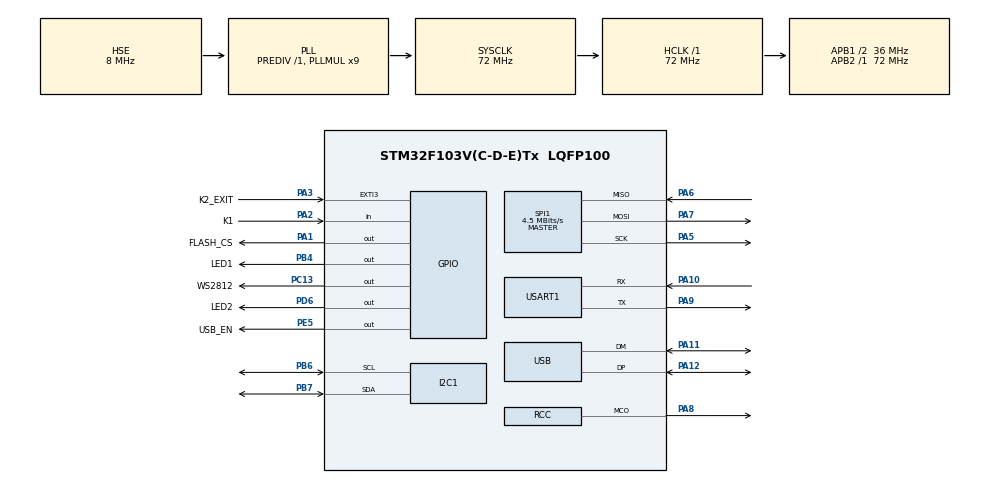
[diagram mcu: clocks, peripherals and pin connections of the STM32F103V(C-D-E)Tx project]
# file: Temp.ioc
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FATFS._CODE_PAGE=936
FATFS._FS_TINY=1
FATFS._MAX_SS=4096
FATFS._MIN_SS=4096
Mcu.Family=STM32F1
Mcu.Name=STM32F103V(C-D-E)Tx
Mcu.Package=LQFP100
NVIC.EXTI3_IRQn=true\:0\:0\:false\:false\:true\:true\:true\:true
NVIC.PriorityGroup=NVIC_PRIORITYGROUP_4
NVIC.USART1_IRQn=true\:0\:0\:false\:false\:true\:true\:true\:true
NVIC.USB_LP_CAN1_RX0_IRQn=true\:0\:0\:false\:false\:true\:false\:true\:true
OSC_IN.Mode=HSE-External-Oscillator
OSC_IN.Signal=RCC_OSC_IN
OSC_OUT.Mode=HSE-External-Oscillator
OSC_OUT.Signal=RCC_OSC_OUT
PA1.GPIO_Label=FLASH_CS
PA1.GPIO_PuPd=GPIO_PULLUP
PA1.GPIO_Speed=GPIO_SPEED_FREQ_HIGH
PA1.PinState=GPIO_PIN_SET
PA1.Signal=GPIO_Output
PA10.Mode=Asynchronous
PA10.Signal=USART1_RX
PA11.Mode=Device
PA11.Signal=USB_DM
PA12.Mode=Device
PA12.Signal=USB_DP
PA13.Mode=Serial_Wire
PA13.Signal=SYS_JTMS-SWDIO
PA14.Mode=Serial_Wire
PA14.Signal=SYS_JTCK-SWCLK
PA2.GPIO_Label=K1
PA2.Signal=GPIO_Input
PA3.GPIO_Label=K2_EXIT
PA3.GPIO_ModeDefaultEXTI=GPIO_MODE_IT_FALLING
PA3.Signal=GPXTI3
PA5.Mode=Full_Duplex_Master
PA5.Signal=SPI1_SCK
PA6.Mode=Full_Duplex_Master
PA6.Signal=SPI1_MISO
PA7.Mode=Full_Duplex_Master
PA7.Signal=SPI1_MOSI
PA8.Mode=Clock-out
PA8.Signal=RCC_MCO
PA9.Mode=Asynchronous
PA9.Signal=USART1_TX
PB4.GPIO_Label=LED1
PB4.GPIO_ModeDefaultOutputPP=GPIO_MODE_OUTPUT_PP
PB4.GPIO_PuPd=GPIO_PULLUP
PB4.GPIO_Speed=GPIO_SPEED_FREQ_HIGH
PB4.PinState=GPIO_PIN_SET
PB4.Signal=GPIO_Output
PB6.Mode=I2C
PB6.Signal=I2C1_SCL
PB7.Mode=I2C
PB7.Signal=I2C1_SDA
PC13-TAMPER-RTC.GPIO_Label=WS2812
PC13-TAMPER-RTC.GPIO_PuPd=GPIO_PULLUP
PC13-TAMPER-RTC.GPIO_Speed=GPIO_SPEED_FREQ_HIGH
PC13-TAMPER-RTC.PinState=GPIO_PIN_SET
PC13-TAMPER-RTC.Signal=GPIO_Output
PC14-OSC32_IN.Mode=LSE-External-Oscillator
PC14-OSC32_IN.Signal=RCC_OSC32_IN
PC15-OSC32_OUT.Mode=LSE-External-Oscillator
PC15-OSC32_OUT.Signal=RCC_OSC32_OUT
PD6.GPIO_Label=LED2
PD6.GPIO_ModeDefaultOutputPP=GPIO_MODE_OUTPUT_PP
PD6.GPIO_PuPd=GPIO_PULLUP
PD6.GPIO_Speed=GPIO_SPEED_FREQ_HIGH
PD6.PinState=GPIO_PIN_SET
PD6.Signal=GPIO_Output
PE5.GPIO_Label=USB_EN
PE5.GPIO_ModeDefaultOutputPP=GPIO_MODE_OUTPUT_PP
PE5.GPIO_PuPd=GPIO_PULLUP
PE5.GPIO_Speed=GPIO_SPEED_FREQ_HIGH
PE5.PinState=GPIO_PIN_SET
PE5.Signal=GPIO_Output
ProjectManager.HeapSize=0x1000
ProjectManager.StackSize=0x1000
ProjectManager.TargetToolchain=Makefile
RCC.AHBFreq_Value=72000000
RCC.APB1CLKDivider=RCC_HCLK_DIV2
RCC.APB1Freq_Value=36000000
RCC.APB1TimFreq_Value=72000000
RCC.APB2Freq_Value=72000000
RCC.APB2TimFreq_Value=72000000
RCC.HCLKFreq_Value=72000000
RCC.PLLMUL=RCC_PLL_MUL9
RCC.PLLSourceVirtual=RCC_PLLSOURCE_HSE
RCC.RCC_MCOSource=RCC_MCO1SOURCE_PLLCLK
RCC.SYSCLKFreq_VALUE=72000000
RCC.SYSCLKSource=RCC_SYSCLKSOURCE_PLLCLK
RCC.USBFreq_Value=48000000
RCC.USBPrescaler=RCC_USBCLKSOURCE_PLL_DIV1_5
SPI1.BaudRatePrescaler=SPI_BAUDRATEPRESCALER_16
SPI1.CalculateBaudRate=4.5 MBits/s
SPI1.Direction=SPI_DIRECTION_2LINES
SPI1.Mode=SPI_MODE_MASTER
SPI1.VirtualType=VM_MASTER
USART1.VirtualMode=VM_ASYNC
USB_DEVICE.CLASS_NAME_FS=HID
USB_DEVICE.VirtualMode=Hid
USB_DEVICE.VirtualModeFS=Hid_FS
VP_FATFS_VS_Generic.Mode=User_defined
VP_USB_DEVICE_VS_USB_DEVICE_HID_FS.Mode=HID_FS
board=custom

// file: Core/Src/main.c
/* USER CODE BEGIN Header */
/**
  ******************************************************************************
  * @file           : main.c
  * @brief          : Main program body
  ******************************************************************************
  * @attention
  *
  * Copyright (c) 2025 STMicroelectronics.
  * All rights reserved.
  *
  * This software is licensed under terms that can be found in the LICENSE file
  * in the root directory of this software component.
  * If no LICENSE file comes with this software, it is provided AS-IS.
  *
  ******************************************************************************
  */
/* USER CODE END Header */
#include "main.h"
#include "fatfs.h"
#include "usb_device.h"

/* USER CODE BEGIN Includes */
#include "stdio.h"//printf函数
#include "string.h"
#include "bsp_spi_flash.h"//SPI flash驱动
#include "usbd_hid.h"
/* USER CODE END Includes */

/* USER CODE BEGIN PTD */
uint8_t rx_buff[100];  //接收缓存
uint8_t rx_done = 0; //接收完成标志
uint8_t rx_cnt = 0;//接收数据长度
/* USER CODE END PTD */

/* USER CODE BEGIN PD */
unsigned char USB_CDC_buff[] = {"STM32 HAL库USB虚拟串口测试!\r\n"};
/* USER CODE END PD */

I2C_HandleTypeDef hi2c1;

SPI_HandleTypeDef hspi1;

UART_HandleTypeDef huart1;

/* USER CODE BEGIN PV */
SPI_HandleTypeDef *hspi_flash = &hspi1; // 必须定义
/* USER CODE END PV */

void SystemClock_Config(void);
static void MX_GPIO_Init(void);
static void MX_USART1_UART_Init(void);
static void MX_I2C1_Init(void);
static void MX_SPI1_Init(void);
/* USER CODE BEGIN PFP */
void spi_flash_test(void);//SPI flash测试函数
void FATFS_FLASH_Test(void);
/* USER CODE END PFP */

int main(void)
{

  /* MCU Configuration--------------------------------------------------------*/

  /* Reset of all peripherals, Initializes the Flash interface and the Systick. */
  HAL_Init();

  /* Configure the system clock */
  SystemClock_Config();

  /* Initialize all configured peripherals */
  MX_GPIO_Init();
  MX_USART1_UART_Init();
  MX_I2C1_Init();
  MX_SPI1_Init();
  MX_FATFS_Init();
  MX_USB_DEVICE_Init();
  /* USER CODE BEGIN 2 */
  // 发送字符串rymcu
  unsigned char Str[] = {"rymcu"};
  unsigned char *Pstr = Str; // 字符串指针

  uint8_t txbuffer[8] = {0x00, 0x00, 0x00, 0x00, 0x00, 0x00, 0x00, 0x00};   // 空
  uint8_t sendbuffer[8] = {0x00, 0x00, 0x04, 0x00, 0x00, 0x00, 0x00, 0x00}; // 发送字母
  HAL_Delay(2000);
  while (*Pstr) // 判断是否到字符串末尾
  {
    sendbuffer[2] = (*Pstr++) - 'a' + 4; // 字母a对应4，其他依次增加
    // 发送一个字符
    USBD_HID_SendReport(&hUsbDeviceFS, sendbuffer, 8); // 发送报文
    HAL_Delay(15);
    USBD_HID_SendReport(&hUsbDeviceFS, txbuffer, 8); // 发送报文
    HAL_Delay(15);
  }
  /* USER CODE END 2 */

  /* Infinite loop */
  while (1)
  {

  }
}

void SystemClock_Config(void)
{
  RCC_OscInitTypeDef RCC_OscInitStruct = {0};
  RCC_ClkInitTypeDef RCC_ClkInitStruct = {0};
  RCC_PeriphCLKInitTypeDef PeriphClkInit = {0};

  /** Initializes the RCC Oscillators according to the specified parameters
  * in the RCC_OscInitTypeDef structure.
  */
  RCC_OscInitStruct.OscillatorType = RCC_OSCILLATORTYPE_HSE;
  RCC_OscInitStruct.HSEState = RCC_HSE_ON;
  RCC_OscInitStruct.HSEPredivValue = RCC_HSE_PREDIV_DIV1;
  RCC_OscInitStruct.HSIState = RCC_HSI_ON;
  RCC_OscInitStruct.PLL.PLLState = RCC_PLL_ON;
  RCC_OscInitStruct.PLL.PLLSource = RCC_PLLSOURCE_HSE;
  RCC_OscInitStruct.PLL.PLLMUL = RCC_PLL_MUL9;
  if (HAL_RCC_OscConfig(&RCC_OscInitStruct) != HAL_OK)
  {
    Error_Handler();
  }

  /** Initializes the CPU, AHB and APB buses clocks
  */
  RCC_ClkInitStruct.ClockType = RCC_CLOCKTYPE_HCLK|RCC_CLOCKTYPE_SYSCLK
                              |RCC_CLOCKTYPE_PCLK1|RCC_CLOCKTYPE_PCLK2;
  RCC_ClkInitStruct.SYSCLKSource = RCC_SYSCLKSOURCE_PLLCLK;
  RCC_ClkInitStruct.AHBCLKDivider = RCC_SYSCLK_DIV1;
  RCC_ClkInitStruct.APB1CLKDivider = RCC_HCLK_DIV2;
  RCC_ClkInitStruct.APB2CLKDivider = RCC_HCLK_DIV1;

  if (HAL_RCC_ClockConfig(&RCC_ClkInitStruct, FLASH_LATENCY_2) != HAL_OK)
  {
    Error_Handler();
  }
  PeriphClkInit.PeriphClockSelection = RCC_PERIPHCLK_USB;
  PeriphClkInit.UsbClockSelection = RCC_USBCLKSOURCE_PLL_DIV1_5;
  if (HAL_RCCEx_PeriphCLKConfig(&PeriphClkInit) != HAL_OK)
  {
    Error_Handler();
  }
  HAL_RCC_MCOConfig(RCC_MCO, RCC_MCO1SOURCE_PLLCLK, RCC_MCODIV_1);
}

static void MX_I2C1_Init(void)
{

  hi2c1.Instance = I2C1;
  hi2c1.Init.ClockSpeed = 100000;
  hi2c1.Init.DutyCycle = I2C_DUTYCYCLE_2;
  hi2c1.Init.OwnAddress1 = 0;
  hi2c1.Init.AddressingMode = I2C_ADDRESSINGMODE_7BIT;
  hi2c1.Init.DualAddressMode = I2C_DUALADDRESS_DISABLE;
  hi2c1.Init.OwnAddress2 = 0;
  hi2c1.Init.GeneralCallMode = I2C_GENERALCALL_DISABLE;
  hi2c1.Init.NoStretchMode = I2C_NOSTRETCH_DISABLE;
  if (HAL_I2C_Init(&hi2c1) != HAL_OK)
  {
    Error_Handler();
  }

}

static void MX_SPI1_Init(void)
{

  /* SPI1 parameter configuration*/
  hspi1.Instance = SPI1;
  hspi1.Init.Mode = SPI_MODE_MASTER;
  hspi1.Init.Direction = SPI_DIRECTION_2LINES;
  hspi1.Init.DataSize = SPI_DATASIZE_8BIT;
  hspi1.Init.CLKPolarity = SPI_POLARITY_LOW;
  hspi1.Init.CLKPhase = SPI_PHASE_1EDGE;
  hspi1.Init.NSS = SPI_NSS_SOFT;
  hspi1.Init.BaudRatePrescaler = SPI_BAUDRATEPRESCALER_16;
  hspi1.Init.FirstBit = SPI_FIRSTBIT_MSB;
  hspi1.Init.TIMode = SPI_TIMODE_DISABLE;
  hspi1.Init.CRCCalculation = SPI_CRCCALCULATION_DISABLE;
  hspi1.Init.CRCPolynomial = 10;
  if (HAL_SPI_Init(&hspi1) != HAL_OK)
  {
    Error_Handler();
  }

}

static void MX_USART1_UART_Init(void)
{

  huart1.Instance = USART1;
  huart1.Init.BaudRate = 115200;
  huart1.Init.WordLength = UART_WORDLENGTH_8B;
  huart1.Init.StopBits = UART_STOPBITS_1;
  huart1.Init.Parity = UART_PARITY_NONE;
  huart1.Init.Mode = UART_MODE_TX_RX;
  huart1.Init.HwFlowCtl = UART_HWCONTROL_NONE;
  huart1.Init.OverSampling = UART_OVERSAMPLING_16;
  if (HAL_UART_Init(&huart1) != HAL_OK)
  {
    Error_Handler();
  }
  /* USER CODE BEGIN USART1_Init 2 */
  //�?启接收中断，空闲中断
  __HAL_UART_ENABLE_IT(&huart1,UART_IT_IDLE|UART_IT_RXNE);
  /* USER CODE END USART1_Init 2 */

}

static void MX_GPIO_Init(void)
{
  GPIO_InitTypeDef GPIO_InitStruct = {0};

  /* GPIO Ports Clock Enable */
  __HAL_RCC_GPIOE_CLK_ENABLE();
  __HAL_RCC_GPIOC_CLK_ENABLE();
  __HAL_RCC_GPIOA_CLK_ENABLE();
  __HAL_RCC_GPIOD_CLK_ENABLE();
  __HAL_RCC_GPIOB_CLK_ENABLE();

  /*Configure GPIO pin Output Level */
  HAL_GPIO_WritePin(USB_EN_GPIO_Port, USB_EN_Pin, GPIO_PIN_SET);

  /*Configure GPIO pin Output Level */
  HAL_GPIO_WritePin(WS2812_GPIO_Port, WS2812_Pin, GPIO_PIN_SET);

  /*Configure GPIO pin Output Level */
  HAL_GPIO_WritePin(FLASH_CS_GPIO_Port, FLASH_CS_Pin, GPIO_PIN_SET);

  /*Configure GPIO pin Output Level */
  HAL_GPIO_WritePin(LED2_GPIO_Port, LED2_Pin, GPIO_PIN_SET);

  /*Configure GPIO pin Output Level */
  HAL_GPIO_WritePin(LED1_GPIO_Port, LED1_Pin, GPIO_PIN_SET);

  /*Configure GPIO pin : USB_EN_Pin */
  GPIO_InitStruct.Pin = USB_EN_Pin;
  GPIO_InitStruct.Mode = GPIO_MODE_OUTPUT_PP;
  GPIO_InitStruct.Pull = GPIO_PULLUP;
  GPIO_InitStruct.Speed = GPIO_SPEED_FREQ_HIGH;
  HAL_GPIO_Init(USB_EN_GPIO_Port, &GPIO_InitStruct);

  /*Configure GPIO pin : WS2812_Pin */
  GPIO_InitStruct.Pin = WS2812_Pin;
  GPIO_InitStruct.Mode = GPIO_MODE_OUTPUT_PP;
  GPIO_InitStruct.Pull = GPIO_PULLUP;
  GPIO_InitStruct.Speed = GPIO_SPEED_FREQ_HIGH;
  HAL_GPIO_Init(WS2812_GPIO_Port, &GPIO_InitStruct);

  /*Configure GPIO pin : FLASH_CS_Pin */
  GPIO_InitStruct.Pin = FLASH_CS_Pin;
  GPIO_InitStruct.Mode = GPIO_MODE_OUTPUT_PP;
  GPIO_InitStruct.Pull = GPIO_PULLUP;
  GPIO_InitStruct.Speed = GPIO_SPEED_FREQ_HIGH;
  HAL_GPIO_Init(FLASH_CS_GPIO_Port, &GPIO_InitStruct);

  /*Configure GPIO pin : K1_Pin */
  GPIO_InitStruct.Pin = K1_Pin;
  GPIO_InitStruct.Mode = GPIO_MODE_INPUT;
  GPIO_InitStruct.Pull = GPIO_NOPULL;
  HAL_GPIO_Init(K1_GPIO_Port, &GPIO_InitStruct);

  /*Configure GPIO pin : K2_EXIT_Pin */
  GPIO_InitStruct.Pin = K2_EXIT_Pin;
  GPIO_InitStruct.Mode = GPIO_MODE_IT_FALLING;
  GPIO_InitStruct.Pull = GPIO_NOPULL;
  HAL_GPIO_Init(K2_EXIT_GPIO_Port, &GPIO_InitStruct);

  /*Configure GPIO pin : PA8 */
  GPIO_InitStruct.Pin = GPIO_PIN_8;
  GPIO_InitStruct.Mode = GPIO_MODE_AF_PP;
  GPIO_InitStruct.Speed = GPIO_SPEED_FREQ_LOW;
  HAL_GPIO_Init(GPIOA, &GPIO_InitStruct);

  /*Configure GPIO pin : LED2_Pin */
  GPIO_InitStruct.Pin = LED2_Pin;
  GPIO_InitStruct.Mode = GPIO_MODE_OUTPUT_PP;
  GPIO_InitStruct.Pull = GPIO_PULLUP;
  GPIO_InitStruct.Speed = GPIO_SPEED_FREQ_HIGH;
  HAL_GPIO_Init(LED2_GPIO_Port, &GPIO_InitStruct);

  /*Configure GPIO pin : LED1_Pin */
  GPIO_InitStruct.Pin = LED1_Pin;
  GPIO_InitStruct.Mode = GPIO_MODE_OUTPUT_PP;
  GPIO_InitStruct.Pull = GPIO_PULLUP;
  GPIO_InitStruct.Speed = GPIO_SPEED_FREQ_HIGH;
  HAL_GPIO_Init(LED1_GPIO_Port, &GPIO_InitStruct);

  /* EXTI interrupt init*/
  HAL_NVIC_SetPriority(EXTI3_IRQn, 0, 0);
  HAL_NVIC_EnableIRQ(EXTI3_IRQn);

}

/* USER CODE BEGIN 4 */
#ifdef __GNUC__
#define PUTCHAR_PROTOTYPE int __io_putchar(int ch)
#else
#define PUTCHAR_PROTOTYPE int fputc(int ch,FILE *f)
#endif /* __GNUC__ */
//重定向printf函数
PUTCHAR_PROTOTYPE
{
    HAL_UART_Transmit(&huart1,(uint8_t *)&ch,1,HAL_MAX_DELAY);//输出指向串口USART1
    return ch;
}
//重写GPIO中断处理函数
void HAL_GPIO_EXTI_Callback(uint16_t GPIO_Pin)
{
    //翻转LED1
    HAL_GPIO_TogglePin(LED1_GPIO_Port,LED1_Pin);
    //打印中断处理信息
    printf("K2 ExTi interrput!\r\n");
}
void spi_flash_test(void)
{
  /* 测试Flash驱动 */
  uint16_t manu_id, dev_id;
  uint8_t jedec_id[3];
  uint8_t write_buf[256] = {0xAA, 0xBB, 0xCC, 0xDD};
  uint8_t read_buf[256];

  Flash_ReadID(&manu_id, &dev_id);
  printf("Flash Manufacturer ID: 0x%04X\r\n", manu_id);
  printf("Flash Device ID: 0x%04X\r\n", dev_id);
  Flash_ReadJedecID(jedec_id);
  printf("Flash JEDEC ID: 0x%02X, 0x%02X, 0x%02X\r\n", jedec_id[0], jedec_id[1], jedec_id[2]);

  if (Flash_SectorErase(0x0000) == HAL_OK) {
    Flash_PageProgram(0x0000, write_buf, 4);
    Flash_ReadData(0x0000, read_buf, 4);
  }
  printf("Flash Write Data: 0x%02X, 0x%02X, 0x%02X, 0x%02X\r\n", write_buf[0], write_buf[1], write_buf[2], write_buf[3]);
  printf("Flash Read  Data: 0x%02X, 0x%02X, 0x%02X, 0x%02X\r\n", read_buf[0], read_buf[1], read_buf[2], read_buf[3]);
  // 验证数据
  if (memcmp(write_buf, read_buf, 4) == 0) {
    printf("\r\nSPI Flash Test Passed!\r\n");
  }
}
// FATFS测试
void FATFS_FLASH_Test(void)
{
  static FATFS fs;                                                              // 文件系统对象
  static FIL fnew;                                                       // 文件对象
  BYTE FATFS_Wr_Buff[128] = "hello, www.rymcu.com make it easy!have fun.\r\n"; // 写缓冲区
  BYTE FATFS_Rd_Buff[128] = {0};                                         // 读缓冲区
  UINT fnum;                                                             // 成功读写数量
  FRESULT res;                                                           // 返回

  printf("\r\n\r\n------------------FLASH FATFS TEST------------------\r\n\r\n");
  res = f_mount(&fs, "0:", 1);
  if (res == FR_NO_FILESYSTEM)
  {
    printf("no file system,begin mkfs\r\n");
    res = f_mkfs("0:", 0, 0); //格式化
    if (res == FR_OK)
    {
      printf("file system mkfs ok\r\n");
      // 格式化成功后先取消，再重新挂载！
      res = f_mount(NULL, "0:", 1);
      printf("cancel mount ok:%d\r\n", res);
      res = f_mount(&fs, "0:", 1);
      printf("re-mount ok:%d\r\n", res);
    }
    else
    {
      printf("failed mount\r\n");
    }
  }
  else
  {
    printf("file system alreadly existed.\r\n");
  }
  printf("\r\n\r\n-------------------FATFS write test-------------------\r\n");
  // 打开文件，文件不存在则创建并打开
  res = f_open(&fnew, "RY.txt", FA_CREATE_ALWAYS | FA_WRITE);
  if (res == FR_OK)
    printf("open or create RY.txt ok.\r\n");
  else
    printf("open or create file failed\r\n");
  // 写测试
  res = f_write(&fnew, FATFS_Wr_Buff, sizeof(FATFS_Wr_Buff), &fnum);
  if (res == FR_OK)
    printf("write to RY.txt:\r\n%s", FATFS_Wr_Buff);
  else
    printf("failed to write RY.txt,code: %d!\r\n", res);
  // 完成写操作后，关闭文件
  f_close(&fnew);
  printf("\r\n-------------------FATFS read test-------------------\r\n\r\n");
  // 打开文件，读方式打开已创建的文件
  res = f_open(&fnew, "RY.txt", FA_OPEN_EXISTING | FA_READ);
  if (res != FR_OK)
  {
    printf("open RY.txt failed\r\n");
    return;
  }
  // 读取文件测试
  res = f_read(&fnew, FATFS_Rd_Buff, sizeof(FATFS_Rd_Buff), &fnum);
  if (res != FR_OK)
  {
    printf("read file failed\r\n");
    return;
  }
  printf("read file data:\r\n%s\r\n", FATFS_Rd_Buff);
  f_close(&fnew); // 读取完毕，关闭文件
}

/* USER CODE END 4 */

void Error_Handler(void)
{
  __disable_irq();
  while (1)
  {
  }
}
